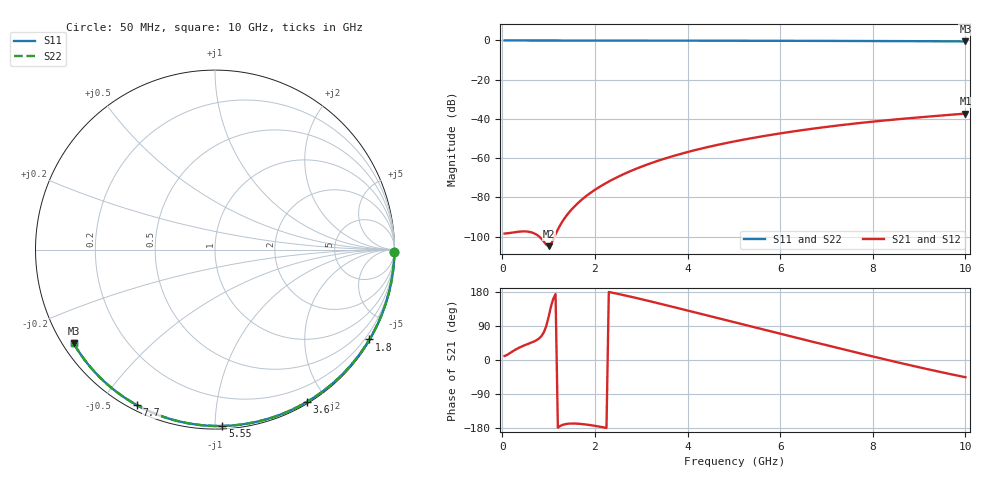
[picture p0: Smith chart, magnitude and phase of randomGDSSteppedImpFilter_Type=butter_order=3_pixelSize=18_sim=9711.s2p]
! freq	dB(S11)	phase(S11)	dB(S12)	phase(S12)
!  dB(S21)	phase(S21)	dB(S22)	phase(S22)
!S-par simulation data
#  GHz  S  DB  R 50
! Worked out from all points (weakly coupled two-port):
!   200 points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, 50 MHz to 10 GHz, reference 50 ohm
!   highest |S21| = -37.29 dB at 10 GHz (marker M1); lowest = -104.9 dB at 1 GHz (marker M2)
!   lowest |S11| = -0.5 dB at 10 GHz (marker M3), VSWR 35.41, Z = 1.54 - j15 ohm
!   |S11| at or under -10 dB: nowhere
!   |S22| runs from -0.5 to 0.0 dB; largest |S21 - S12| = 0
!   S11 on the Smith chart (normalised r, x): 50 MHz: open; 1.8 GHz: 0.03, -3.71; 3.6 GHz: 0.02, -1.77; 5.55 GHz: 0.02, -1.04; 7.7 GHz: 0.02, -0.62; 10 GHz: 0.03, -0.30
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0.05  -0.00 -0.9  -98.51 10.7  -98.51 10.7  -0.00 -0.9
0.5  -0.01 -8.5  -97.40 39.7  -97.40 39.7  -0.01 -8.5
1  -0.02 -16.9  -104.93 113.6  -104.93 113.6  -0.02 -16.9
1.75  -0.04 -29.3  -80.54 -169.4  -80.54 -169.4  -0.04 -29.3
1.8  -0.04 -30.2  -79.59 -170.1  -79.59 -170.1  -0.04 -30.2
1.95  -0.04 -32.6  -76.99 -172.7  -76.99 -172.7  -0.04 -32.6
2.1  -0.04 -35.1  -74.69 -175.8  -74.69 -175.8  -0.04 -35.1
2.3  -0.05 -38.3  -71.96 179.5  -71.96 179.5  -0.05 -38.3
2.5  -0.05 -41.5  -69.53 174.4  -69.53 174.4  -0.05 -41.5
2.9  -0.06 -47.9  -65.35 163.4  -65.35 163.4  -0.06 -47.9
3.4  -0.07 -55.7  -61.08 148.8  -61.08 148.8  -0.07 -55.7
3.6  -0.08 -58.8  -59.59 142.7  -59.59 142.7  -0.08 -58.8
3.9  -0.09 -63.4  -57.55 133.6  -57.55 133.6  -0.09 -63.4
4.3  -0.10 -69.4  -55.14 121.3  -55.14 121.3  -0.10 -69.4
5.05  -0.12 -80.4  -51.31 98.3  -51.31 98.3  -0.12 -80.4
5.55  -0.14 -87.6  -49.15 83.0  -49.15 83.0  -0.14 -87.6
6.1  -0.17 -95.3  -47.04 66.3  -47.04 66.3  -0.17 -95.2
6.7  -0.20 -103.4  -45.01 48.2  -45.01 48.2  -0.20 -103.4
7.7  -0.27 -116.8  -42.15 18.2  -42.15 18.2  -0.27 -116.8
8.35  -0.32 -125.2  -40.60 -0.9  -40.60 -0.9  -0.32 -125.2
9.2  -0.40 -136.2  -38.83 -24.7  -38.83 -24.7  -0.40 -136.2
10  -0.49 -146.5  -37.29 -45.5  -37.29 -45.5  -0.49 -146.5
